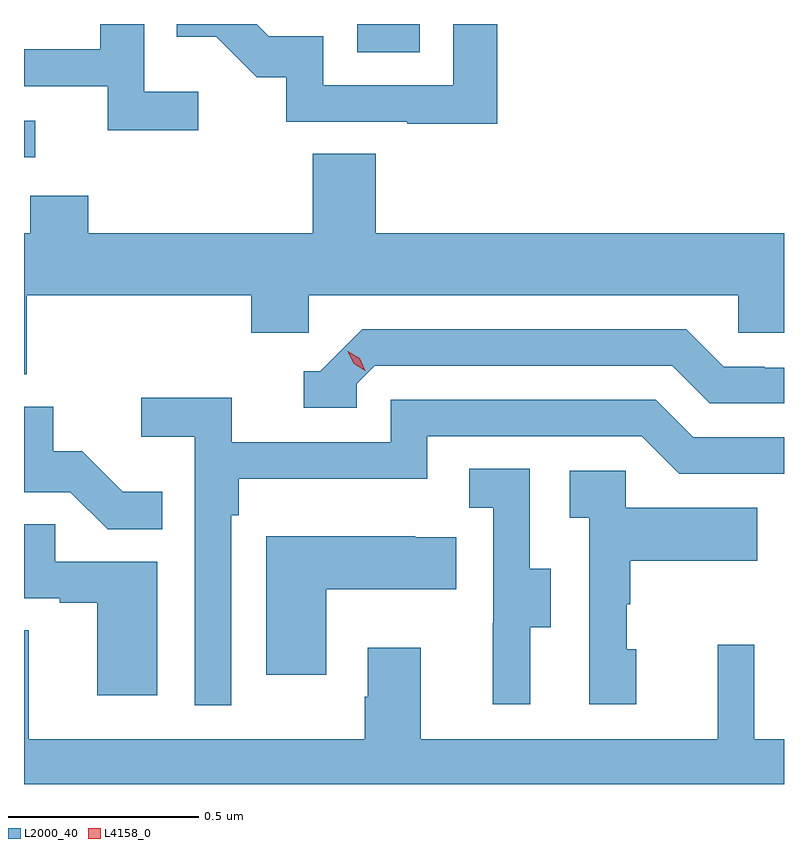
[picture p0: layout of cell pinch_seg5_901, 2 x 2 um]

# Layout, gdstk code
import gdstk
lib = gdstk.Library(unit=1e-6, precision=1e-09)
def R(c, l, rs):  # rectangles x0, y0, x1, y1
    for r in rs: c.add(gdstk.rectangle(r[:2], r[2:], *l))
def P(c, l, *ps):  # polygons
    for p in ps: c.add(gdstk.Polygon(p, *l))
L2000_40 = (2000, 40)
L4158_0 = (4158, 0)

pinch_seg5_901 = lib.new_cell('pinch_seg5_901')
R(pinch_seg5_901, L2000_40, [(879.769,877.104,879.799,877.2), (880.646,877.38,880.81,877.454)])
P(pinch_seg5_901, L2000_40, [(880.228,877.276),(880.086,877.276),(880.086,877.454),(879.97,877.454),(879.97,877.387),(879.769,877.387),(879.769,877.29),(879.989,877.29),(879.989,877.174),(880.228,877.174)],
  [(881.015,877.454),(880.899,877.454),(880.899,877.293),(880.557,877.293),(880.557,877.422),(880.413,877.422),(880.381,877.454),(880.171,877.454),(880.171,877.421),(880.275,877.421),(880.382,877.314),(880.459,877.314),(880.459,877.197),(880.777,877.197),(880.777,877.192),(881.015,877.192)],
  [(879.776,876.74),(880.367,876.74),(880.367,876.642),(880.518,876.642),(880.518,876.74),(881.649,876.74),(881.649,876.642),(881.769,876.642),(881.769,876.904),(880.694,876.904),(880.694,877.112),(880.529,877.112),(880.529,876.904),(879.938,876.904),(879.938,877.002),(879.786,877.002),(879.786,876.904),(879.769,876.904),(879.769,876.532),(879.776,876.532)],
  [(880.644,876.507),(880.692,876.555),(881.475,876.555),(881.574,876.456),(881.769,876.456),(881.769,876.549),(881.718,876.549),(881.718,876.552),(881.611,876.552),(881.512,876.651),(880.659,876.651),(880.548,876.54),(880.505,876.54),(880.505,876.444),(880.644,876.444)],
  [(880.314,876.161),(880.334,876.161),(880.334,876.257),(880.83,876.257),(880.83,876.369),(881.394,876.369),(881.493,876.27),(881.769,876.27),(881.769,876.366),(881.53,876.366),(881.431,876.465),(880.734,876.465),(880.734,876.354),(880.316,876.354),(880.316,876.47),(880.077,876.47),(880.077,876.368),(880.218,876.368),(880.218,875.661),(880.314,875.661)],
  [(880.133,876.223),(880.029,876.223),(879.922,876.33),(879.846,876.33),(879.846,876.447),(879.769,876.447),(879.769,876.222),(879.891,876.222),(879.989,876.124),(880.133,876.124)],
  [(881.101,875.866),(881.155,875.866),(881.155,876.021),(881.1,876.021),(881.1,876.284),(880.941,876.284),(880.941,876.181),(881.004,876.181),(881.004,875.877),(881.003,875.877),(881.003,875.664),(881.101,875.664)],
  [(881.38,875.808),(881.355,875.808),(881.355,875.927),(881.365,875.927),(881.365,876.041),(881.699,876.041),(881.699,876.181),(881.352,876.181),(881.352,876.279),(881.205,876.279),(881.205,876.155),(881.256,876.155),(881.256,875.664),(881.38,875.664)],
  [(880.12,876.039),(879.851,876.039),(879.851,876.137),(879.769,876.137),(879.769,875.943),(879.863,875.943),(879.863,875.931),(879.962,875.931),(879.962,875.688),(880.12,875.688)],
  [(880.564,875.966),(880.907,875.966),(880.907,876.103),(880.799,876.103),(880.799,876.106),(880.406,876.106),(880.406,875.742),(880.564,875.742)],
  [(881.769,875.572),(881.691,875.572),(881.691,875.821),(881.594,875.821),(881.594,875.572),(880.813,875.572),(880.813,875.812),(880.673,875.812),(880.673,875.684),(880.666,875.684),(880.666,875.572),(879.781,875.572),(879.781,875.858),(879.769,875.858),(879.769,875.454),(881.769,875.454)])
P(pinch_seg5_901, L4158_0, [(880.667,876.541),(880.637,876.56),(880.621,876.593),(880.621,876.593),(880.621,876.593),(880.652,876.574),(880.667,876.541),(880.667,876.541)])

lib.write_gds('pinch_seg5_901.gds')
